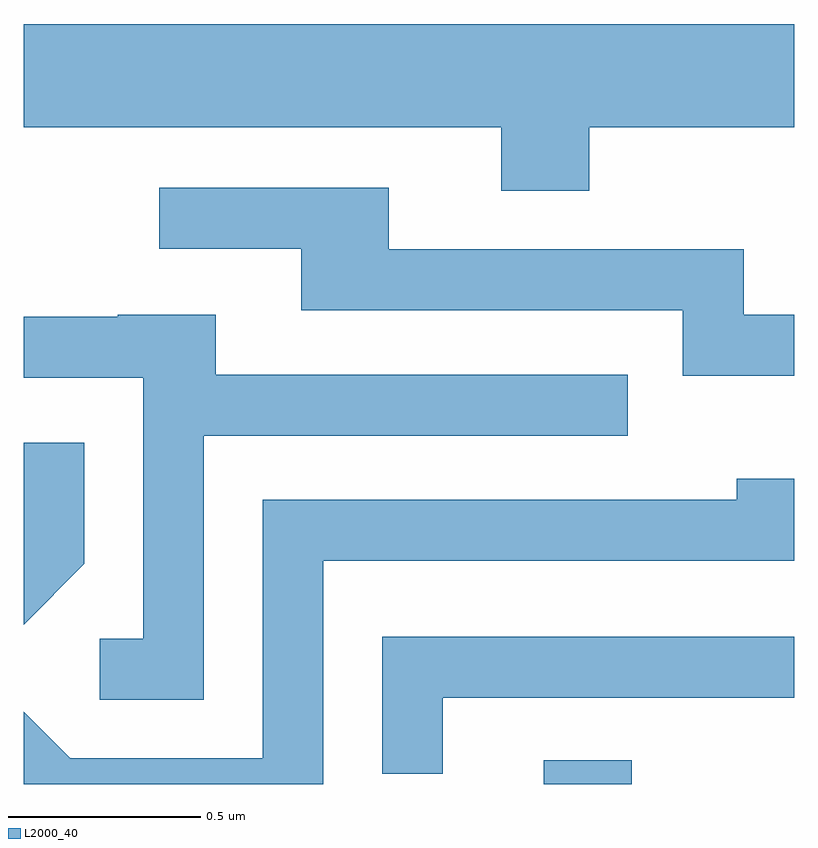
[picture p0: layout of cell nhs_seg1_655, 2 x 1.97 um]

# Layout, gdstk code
import gdstk
lib = gdstk.Library(unit=1e-6, precision=1e-09)
def R(c, l, rs):  # rectangles x0, y0, x1, y1
    for r in rs: c.add(gdstk.rectangle(r[:2], r[2:], *l))
def P(c, l, *ps):  # polygons
    for p in ps: c.add(gdstk.Polygon(p, *l))
L2000_40 = (2000, 40)

nhs_seg1_655 = lib.new_cell('nhs_seg1_655')
R(nhs_seg1_655, L2000_40, [(190.961,946.712,191.189,946.774)])
P(nhs_seg1_655, L2000_40, [(191.079,948.416),(191.611,948.416),(191.611,948.684),(189.611,948.684),(189.611,948.416),(190.851,948.416),(190.851,948.251),(191.079,948.251)],
  [(191.611,947.929),(191.479,947.929),(191.479,948.099),(190.559,948.099),(190.559,948.259),(189.963,948.259),(189.963,948.101),(190.331,948.101),(190.331,947.941),(191.321,947.941),(191.321,947.771),(191.611,947.771)],
  [(190.079,947.616),(191.178,947.616),(191.178,947.774),(190.109,947.774),(190.109,947.929),(189.855,947.929),(189.855,947.924),(189.611,947.924),(189.611,947.766),(189.921,947.766),(189.921,947.089),(189.808,947.089),(189.808,946.931),(190.079,946.931)],
  [(189.769,947.284),(189.769,947.598),(189.611,947.598),(189.611,947.125)],
  [(190.389,947.291),(191.611,947.291),(191.611,947.504),(191.461,947.504),(191.461,947.449),(190.231,947.449),(190.231,946.779),(189.732,946.779),(189.611,946.9),(189.611,946.712),(190.389,946.712)],
  [(190.699,946.936),(191.611,946.936),(191.611,947.094),(190.541,947.094),(190.541,946.738),(190.699,946.738)])

lib.write_gds('nhs_seg1_655.gds')
